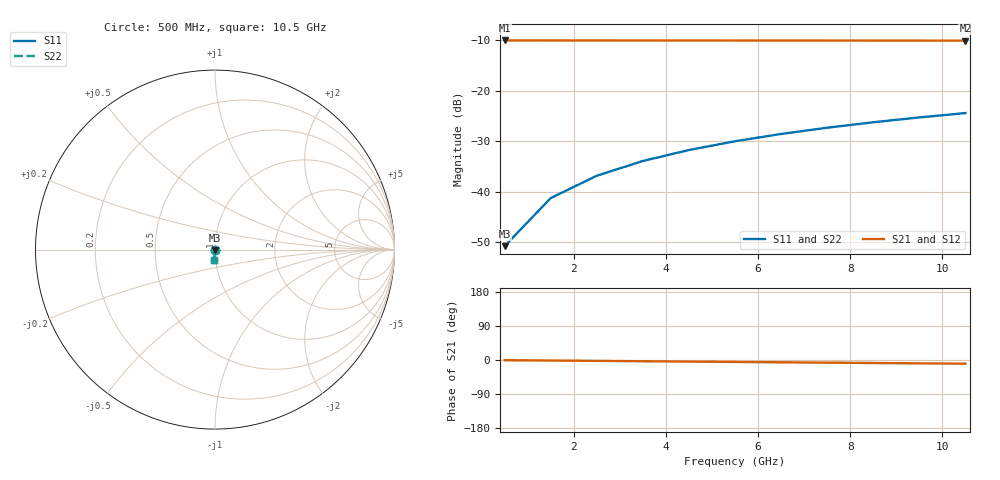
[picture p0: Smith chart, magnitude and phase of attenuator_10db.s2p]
! 2-Port 10 dB Matched Pi-Network RF Attenuator (DC to 10 GHz)
# GHz S MA R 50
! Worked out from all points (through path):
!   11 points, 500 MHz to 10.5 GHz, reference 50 ohm
!   highest |S21| = -10.00 dB at 500 MHz (marker M1); lowest = -10.0 dB at 10.5 GHz (marker M2)
!   group delay of S21, straight-line fit = 2.58 ps
!   lowest |S11| = -50.8 dB at 500 MHz (marker M3), VSWR 1.01, Z = 50 - j0.287 ohm
!   |S11| at or under -10 dB: start of sweep to end of sweep
!   |S22| runs from -50.8 to -24.4 dB; largest |S21 - S12| = 0
0.5  0.002875 -90.1  0.3162 -0.5  0.3162 -0.5  0.002875 -90.1
1.5  0.008626 -90.5  0.3162 -1.4  0.3162 -1.4  0.008626 -90.5
2.5  0.01438 -90.9  0.3162 -2.3  0.3162 -2.3  0.01438 -90.9
3.5  0.02012 -91.3  0.3161 -3.3  0.3161 -3.3  0.02012 -91.3
4.5  0.02586 -91.7  0.316 -4.2  0.316 -4.2  0.02586 -91.7
5.5  0.0316 -92.0  0.3159 -5.1  0.3159 -5.1  0.0316 -92.0
6.5  0.03733 -92.4  0.3158 -6.0  0.3158 -6.0  0.03733 -92.4
7.5  0.04306 -92.8  0.3156 -7.0  0.3156 -7.0  0.04306 -92.8
8.5  0.04877 -93.1  0.3154 -7.9  0.3154 -7.9  0.04877 -93.1
9.5  0.05448 -93.5  0.3152 -8.8  0.3152 -8.8  0.05448 -93.5
10.5  0.06018 -93.9  0.315 -9.8  0.315 -9.8  0.06018 -93.9
